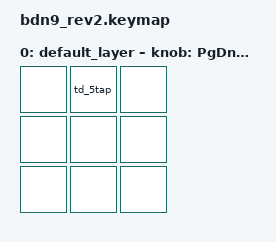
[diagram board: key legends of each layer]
/*
 * Copyright (c) 2020 The ZMK Contributors
 * SPDX-License-Identifier: MIT
 */

#include <behaviors.dtsi>
#include <dt-bindings/zmk/keys.h>
#include <dt-bindings/zmk/bt.h>

/* 硬件配置：启用中间旋钮 */
&mid_encoder { status = "okay"; };

&sensors {
    status = "okay";
    sensors = <&mid_encoder>;
};

/ {
    behaviors {
        /* *
         * 定义 "5连击" 行为 (Tap Dance)
         * 逻辑清单:
         * 1次点击: &kp C_PP (播放/暂停)
         * 2次点击: &none   (无动作)
         * 3次点击: &none   (无动作)
         * 4次点击: &none   (无动作)
         * 5次点击: &bt BT_CLR (清除蓝牙)
         */
        td_5tap: tap_dance_5_times {
            compatible = "zmk,behavior-tap-dance";
            #binding-cells = <0>;
            tapping-term-ms = <300>; /* 连击间隔判定时间: 300毫秒 */
            
            /* 这里必须写满 5 个动作，分别对应按 1~5 次的结果 */
            bindings = <&kp C_PP>, <&none>, <&none>, <&none>, <&bt BT_CLR>;
        };
    };

    keymap {
        compatible = "zmk,keymap";

        default_layer {
            /* 注意：中间的按键换成了 &td_5tap */
            bindings = <
                &none      &td_5tap      &none
                &none      &none         &none
                &none      &none         &none
            >;

            sensor-bindings = <&inc_dec_kp PAGE_DOWN PAGE_UP>;
        };
    };
};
